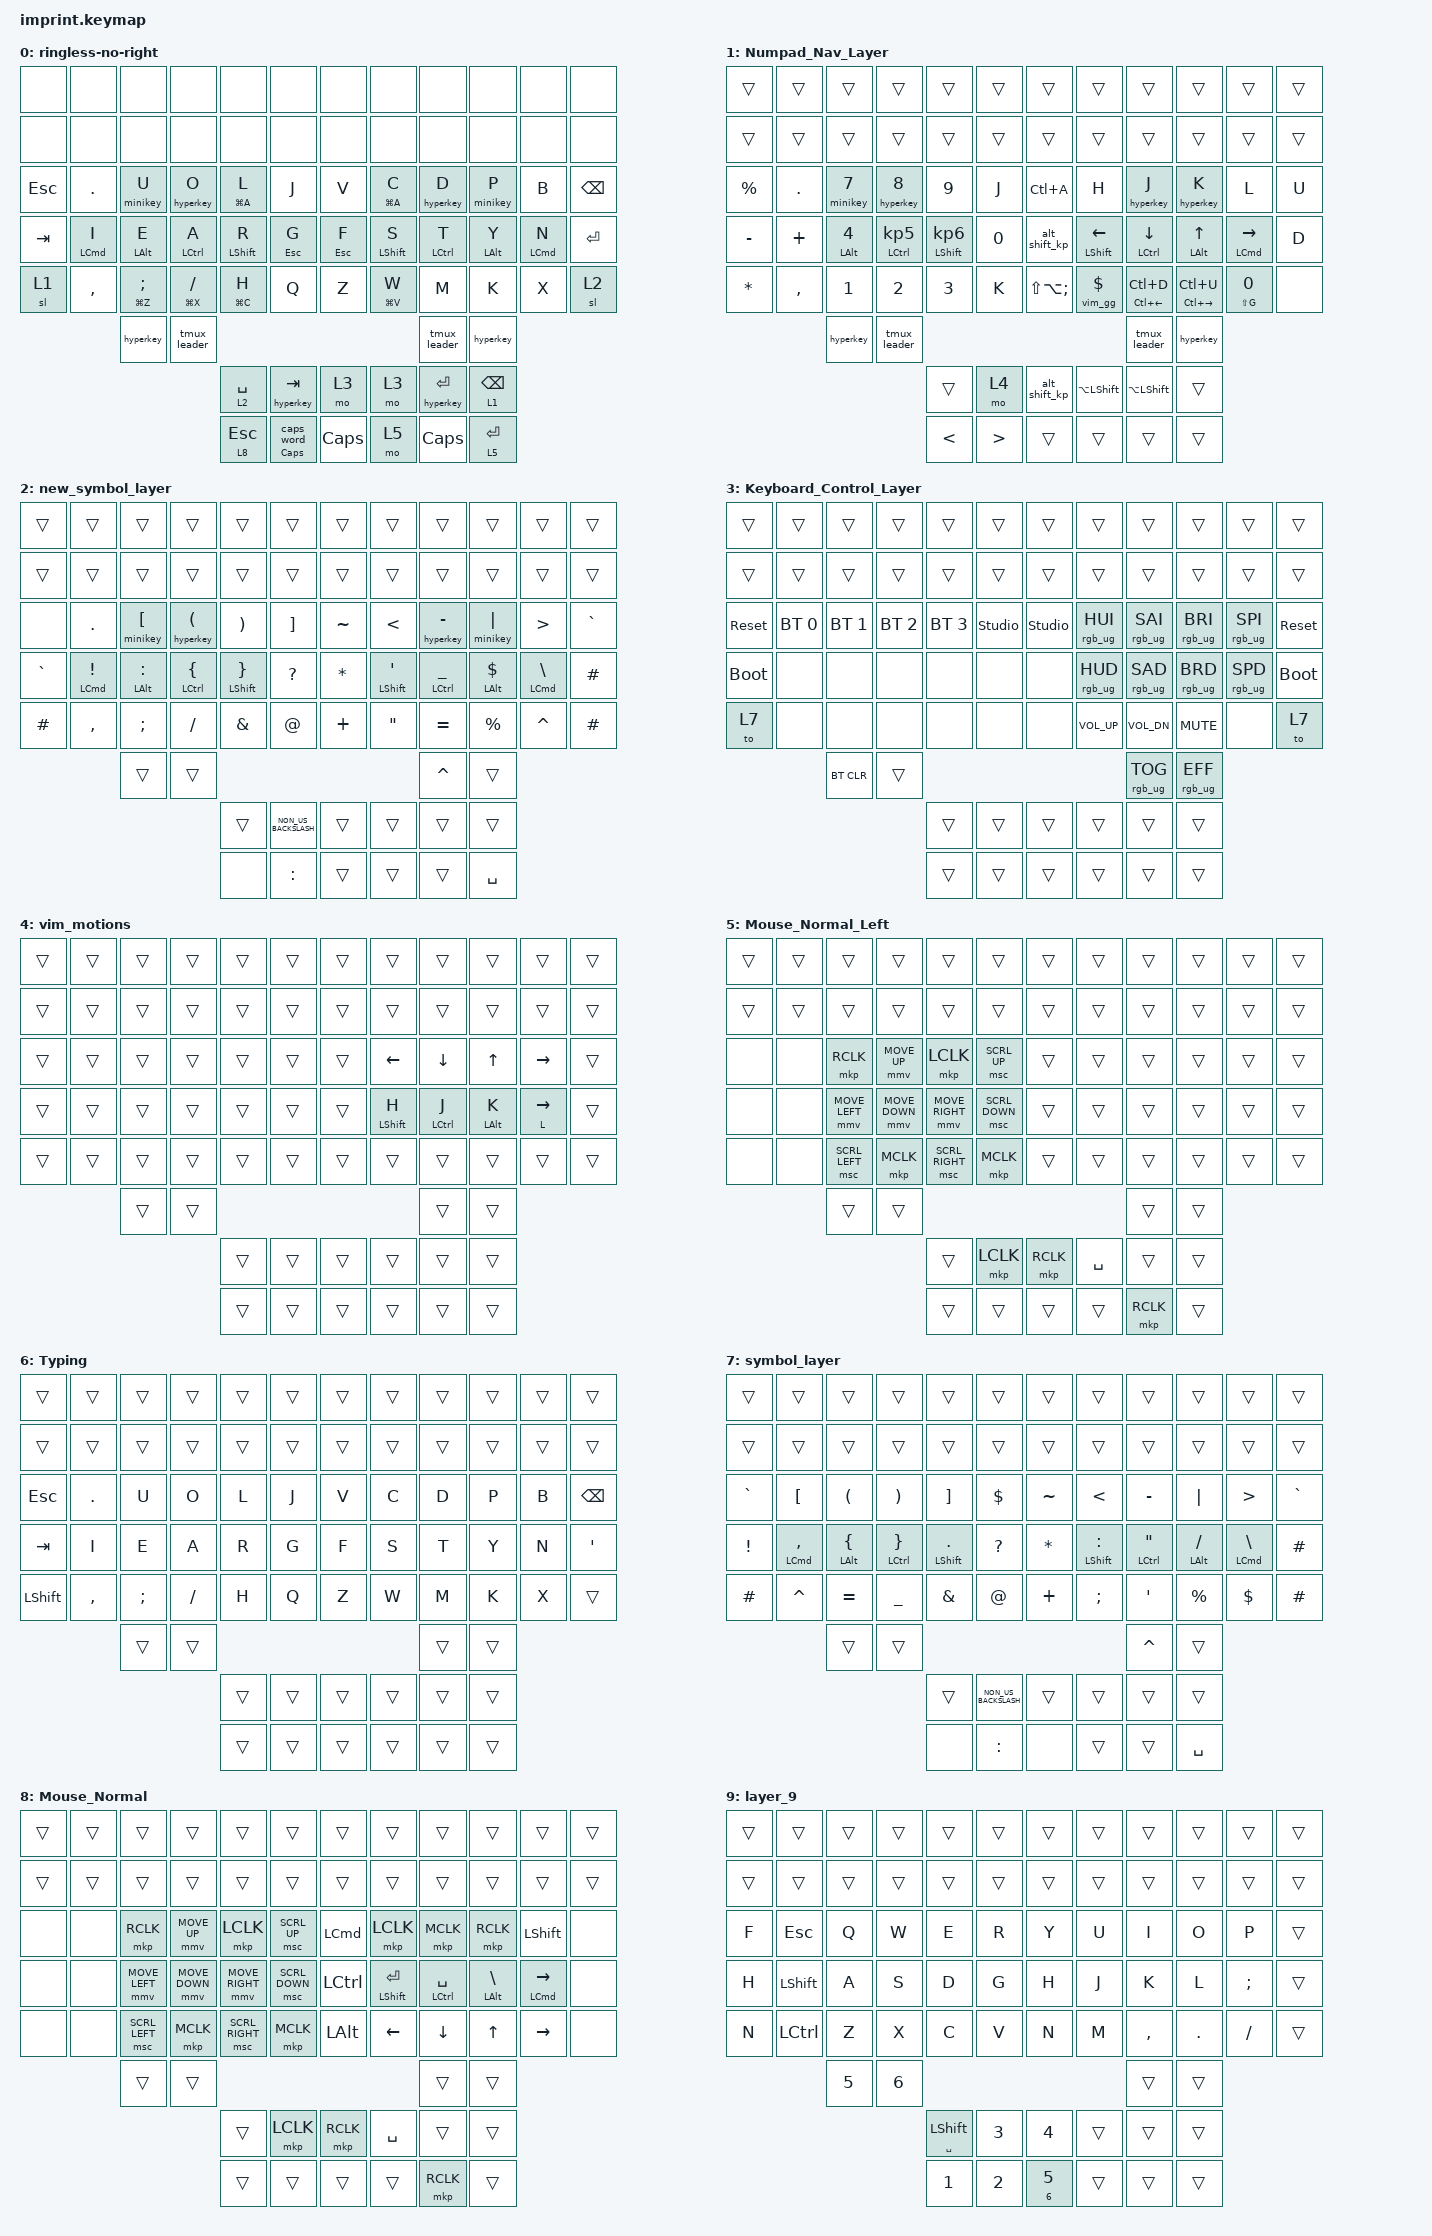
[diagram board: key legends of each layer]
#include <input/processors.dtsi>
#include <dt-bindings/zmk/input_transform.h>

#define ZMK_POINTING_DEFAULT_MOVE_VAL 1000  // default: 600
#define ZMK_POINTING_DEFAULT_SCRL_VAL 20    // default: 10

#include <behaviors.dtsi>
#include <dt-bindings/zmk/bt.h>
#include <dt-bindings/zmk/keys.h>
#include <dt-bindings/zmk/pointing.h>
#include <dt-bindings/zmk/rgb.h>

/ {
    chosen { zmk,matrix-transform = &imprint_function_row; };

    combos {
        compatible = "zmk,combos";

        to-alt {
            bindings = <&to 0>;
            key-positions = <61 62>;
            layers = <9 1 2 3 4 5 6 7 8>;
        };

        toKeyboardControl {
            bindings = <&to 3>;
            key-positions = <35 24>;
        };

        to_typing {
            bindings = <&to 6>;
            key-positions = <60 63>;
        };

        to_qwerty {
            bindings = <&to 9>;
            key-positions = <61 62>;
            layers = <0>;
        };
    };

    behaviors {
        Tap_Preferred_180ms: Tap_Preferred_180ms {
            compatible = "zmk,behavior-hold-tap";
            label = "TAP_PREFERRED_180MS";
            bindings = <&kp>, <&kp>;

            #binding-cells = <2>;
            tapping-term-ms = <230>;
            flavor = "tap-preferred";
            require-prior-idle-ms = <100>;
            hold-trigger-key-positions = <49 50 51 52 53 36 37 38 39 40 41 48 49 50 51 52 53 24 25 26 27 28 29 60 61 64 65 66 67 68 69 70 71 72 73 74 75>;
        };

        tap_long_press: tap_long_press {
            compatible = "zmk,behavior-hold-tap";
            label = "TAP_LONG_PRESS";
            bindings = <&kp>, <&kp>;

            #binding-cells = <2>;
            tapping-term-ms = <210>;
            require-prior-idle-ms = <125>;
            flavor = "tap-preferred";
            hold-trigger-key-positions = <24 25 26 27 28 29 36 37 38 39 40 41 48 49 50 51 52 53 60 61 64 65 66 67 68 69 70 71 72 73 74 75>;
        };

        tap_preferred_short: tap_preferred_short {
            compatible = "zmk,behavior-hold-tap";
            label = "TAP_PREFERRED_SHORT";
            bindings = <&kp>, <&kp>;

            #binding-cells = <2>;
            tapping-term-ms = <160>;
            flavor = "tap-preferred";
            require-prior-idle-ms = <40>;
            hold-trigger-key-positions = <24 25 26 27 28 29 36 37 38 39 40 41 48 49 50 51 52 53 60 61 64 65 66 67 68 69 70 71 72 73 74 75>;
        };

        lt_tap_preferred: lt_tap_preferred {
            compatible = "zmk,behavior-hold-tap";
            label = "LT_TAP_PREFERRED";
            bindings = <&mo>, <&kp>;

            #binding-cells = <2>;
            tapping-term-ms = <140>;
            flavor = "tap-preferred";
            require-prior-idle-ms = <80>;
        };

        Tap_Preferred_180ms_Left: Tap_Preferred_180ms_Left {
            compatible = "zmk,behavior-hold-tap";
            label = "TAP_PREFERRED_180MS_LEFT";
            bindings = <&kp>, <&kp>;

            #binding-cells = <2>;
            tapping-term-ms = <230>;
            require-prior-idle-ms = <100>;
            flavor = "tap-preferred";
            hold-trigger-key-positions = <30 31 32 33 34 35 42 43 44 45 46 47 54 55 56 57 58 59 62 63 64 65 66 67 68 69 70 71 72 73 74 75>;
        };

        tap_preferred_short_left: tap_preferred_short_left {
            compatible = "zmk,behavior-hold-tap";
            label = "TAP_PREFERRED_SHORT_LEFT";
            bindings = <&kp>, <&kp>;

            #binding-cells = <2>;
            tapping-term-ms = <160>;
            flavor = "tap-preferred";
            require-prior-idle-ms = <40>;
            hold-trigger-key-positions = <30 31 32 33 34 35 42 43 44 45 46 47 54 55 56 57 58 59 62 63 64 65 66 67 68 69 70 71 72 73 74 75>;
        };

        tap_long_press_left: tap_long_press_left {
            compatible = "zmk,behavior-hold-tap";
            label = "TAP_LONG_PRESS_LEFT";
            bindings = <&kp>, <&kp>;

            #binding-cells = <2>;
            tapping-term-ms = <210>;
            require-prior-idle-ms = <100>;
            flavor = "tap-preferred";
            hold-trigger-key-positions = <30 31 32 33 34 35 42 43 44 45 46 47 54 55 56 57 58 59 62 63 64 65 66 67 68 69 70 71 72 73 74 75>;
        };

        long_press_macro: long_press_macro {
            compatible = "zmk,behavior-hold-tap";
            label = "LONG_PRESS_MACRO";
            bindings = <&kp>, <&kp>;

            #binding-cells = <2>;
            tapping-term-ms = <250>;
            flavor = "tap-preferred";
            require-prior-idle-ms = <80>;
        };

        aero_leader_layer_tap: aero_leader_layer_tap {
            compatible = "zmk,behavior-hold-tap";
            label = "AERO_LEADER_LAYER_TAP";
            bindings = <&lt>, <&hyperkey>;

            #binding-cells = <2>;
            tapping-term-ms = <100>;
            flavor = "tap-preferred";
        };

        macro_preferred_short: macro_preferred_short {
            compatible = "zmk,behavior-hold-tap";
            label = "MACRO_PREFERRED_SHORT";
            bindings = <&vim_gg>, <&kp>;

            #binding-cells = <2>;
            tapping-term-ms = <160>;
            flavor = "tap-preferred";
            require-prior-idle-ms = <50>;
            hold-trigger-key-positions = <24 25 26 27 28 29 36 37 38 39 40 41 48 49 50 51 52 53 60 61 64 65 66 67 68 69 70 71 72 73 74 75>;
        };

        caps_word_lock: caps_word_lock {
            compatible = "zmk,behavior-hold-tap";
            label = "CAPS_WORD_LOCK";
            bindings = <&kp>, <&caps_word>;

            #binding-cells = <2>;
            tapping-term-ms = <180>;
            flavor = "tap-preferred";
        };

        mt_hyperkey: mt_hyperkey {
            compatible = "zmk,behavior-hold-tap";
            label = "MT_HYPERKEY";
            bindings = <&hyperkey>, <&kp>;

            #binding-cells = <2>;
            tapping-term-ms = <180>;
            flavor = "tap-preferred";
        };

        mt_minikey: mt_minikey {
            compatible = "zmk,behavior-hold-tap";
            label = "MT_MINIKEY";
            bindings = <&minikey>, <&kp>;

            #binding-cells = <2>;
            tapping-term-ms = <180>;
            flavor = "tap-preferred";
        };
    };

    macros {
        hyperkey: aero_leader {
            compatible = "zmk,behavior-macro";
            #binding-cells = <0>;
            bindings =
                <&macro_press>,
                <&kp LEFT_CONTROL &kp LEFT_ALT &kp LEFT_SHIFT &kp LEFT_COMMAND>,
                <&macro_pause_for_release>,
                <&macro_release>,
                <&kp LEFT_CONTROL &kp LEFT_ALT &kp LEFT_SHIFT &kp LEFT_COMMAND>;

            label = "AERO_LEADER";
        };

        vim_gg: vim_gg {
            compatible = "zmk,behavior-macro";
            #binding-cells = <0>;
            bindings = <&kp G &kp G>;
            label = "VIM_GG";
        };

        tmux_leader: tmux_leader {
            compatible = "zmk,behavior-macro";
            #binding-cells = <0>;
            bindings = <&kp LC(A)>;
            label = "TMUX_LEADER";
        };

        alt_shift_kp: alt_shift {
            compatible = "zmk,behavior-macro";
            #binding-cells = <0>;
            bindings = <&kp LEFT_ALT &kp LEFT_SHIFT>;
            label = "ALT_SHIFT";
        };

        minikey: minikey {
            compatible = "zmk,behavior-macro";
            #binding-cells = <0>;
            bindings =
                <&macro_press>,
                <&kp LEFT_ALT &kp LEFT_SHIFT &kp LEFT_COMMAND>,
                <&macro_pause_for_release>,
                <&macro_release>,
                <&kp LEFT_ALT &kp LEFT_SHIFT &kp LEFT_COMMAND>;

            label = "MINIKEY";
        };
    };

    keymap {
        compatible = "zmk,keymap";

        ringless-no-right {
            bindings = <
&none       &none                        &none                                 &none                                     &none                                   &none                                          &none                               &none                              &none                                &none                            &none                           &none
&none       &none                        &none                                 &none                                     &none                                   &none                                          &none                               &none                              &none                                &none                            &none                           &none
&kp ESCAPE  &kp PERIOD                   &mt_minikey 0 U                       &mt_hyperkey 0 O                          &long_press_macro LG(A) L               &kp J                                          &kp V                               &long_press_macro LG(A) C          &mt_hyperkey 0 D                     &mt_minikey 0 P                  &kp B                           &kp BACKSPACE
&kp TAB     &tap_long_press_left LCMD I  &Tap_Preferred_180ms_Left LEFT_ALT E  &Tap_Preferred_180ms_Left LEFT_CONTROL A  &tap_preferred_short_left LEFT_SHIFT R  &Tap_Preferred_180ms ESCAPE G                  &Tap_Preferred_180ms_Left ESCAPE F  &tap_preferred_short LEFT_SHIFT S  &Tap_Preferred_180ms LEFT_CONTROL T  &Tap_Preferred_180ms LEFT_ALT Y  &tap_long_press LEFT_COMMAND N  &kp ENTER
&sl 1       &kp COMMA                    &Tap_Preferred_180ms_Left LG(Z) SEMI  &Tap_Preferred_180ms_Left LG(X) SLASH     &Tap_Preferred_180ms_Left LG(C) H       &kp Q                                          &kp Z                               &Tap_Preferred_180ms LG(V) W       &kp M                                &kp K                            &kp X                           &sl 2
                                         &hyperkey                             &tmux_leader                                                                                                                                                                                            &tmux_leader                         &hyperkey
                                                                                                                         &lt_tap_preferred 2 SPACE               &mt_hyperkey 0 TAB             &mo 3           &mo 3                               &mt_hyperkey 0 ENTER               &lt_tap_preferred 1 BACKSPACE
                                                                                                                         &lt_tap_preferred 8 ESCAPE              &caps_word_lock CAPSLOCK 0     &kp CAPSLOCK    &mo 5                               &kp CAPSLOCK                       &lt_tap_preferred 5 ENTER
            >;
        };

        Numpad_Nav_Layer {
            bindings = <
&trans        &trans      &trans                                       &trans                                              &trans                                            &trans                             &trans                 &trans                                &trans                                        &trans                                  &trans                         &trans
&trans        &trans      &trans                                       &trans                                              &trans                                            &trans                             &trans                 &trans                                &trans                                        &trans                                  &trans                         &trans
&kp PERCENT   &kp PERIOD  &mt_minikey 0 N7                             &mt_hyperkey 0 N8                                   &kp N9                                            &kp J                              &kp LC(A)              &kp H                                 &mt_hyperkey 0 J                              &mt_hyperkey 0 K                        &kp L                          &kp U
&kp MINUS     &kp PLUS    &Tap_Preferred_180ms_Left LEFT_ALT NUMBER_4  &Tap_Preferred_180ms_Left LEFT_CONTROL KP_NUMBER_5  &tap_preferred_short_left LEFT_SHIFT KP_NUMBER_6  &kp N0                             &alt_shift_kp          &tap_preferred_short LEFT_SHIFT LEFT  &Tap_Preferred_180ms LEFT_CONTROL DOWN_ARROW  &Tap_Preferred_180ms LEFT_ALT UP_ARROW  &tap_long_press LCMD RIGHT     &kp D
&kp ASTERISK  &kp COMMA   &kp N1                                       &kp N2                                              &kp N3                                            &kp K                              &kp LS(LA(SEMICOLON))  &macro_preferred_short 0 DOLLAR       &tap_preferred_short LC(LEFT) LC(D)           &tap_preferred_short LC(RIGHT) LC(U)    &tap_preferred_short LS(G) N0  &none
                          &hyperkey                                    &tmux_leader                                                                                                                                                                                          &tmux_leader                                  &hyperkey
                                                                                                                           &trans                                            &mo 4             &alt_shift_kp    &kp LA(LEFT_SHIFT)     &kp LA(LEFT_SHIFT)                    &trans
                                                                                                                           &kp LESS_THAN                                     &kp GREATER_THAN  &trans           &trans                 &trans                                &trans
            >;
        };

        new_symbol_layer {
            bindings = <
&trans     &trans                                 &trans                                    &trans                                             &trans                                            &trans                          &trans        &trans                               &trans                                        &trans                                &trans                          &trans
&trans     &trans                                 &trans                                    &trans                                             &trans                                            &trans                          &trans        &trans                               &trans                                        &trans                                &trans                          &trans
&none      &kp PERIOD                             &mt_minikey 0 LEFT_BRACKET                &mt_hyperkey 0 LEFT_PARENTHESIS                    &kp RIGHT_PARENTHESIS                             &kp RIGHT_BRACKET               &kp TILDE     &kp LESS_THAN                        &mt_hyperkey 0 MINUS                          &mt_minikey 0 PIPE                    &kp GREATER_THAN                &kp GRAVE
&kp GRAVE  &tap_long_press_left LCMD EXCLAMATION  &Tap_Preferred_180ms_Left LEFT_ALT COLON  &Tap_Preferred_180ms_Left LEFT_CONTROL LEFT_BRACE  &Tap_Preferred_180ms_Left LEFT_SHIFT RIGHT_BRACE  &kp QUESTION                    &kp ASTERISK  &Tap_Preferred_180ms LEFT_SHIFT SQT  &Tap_Preferred_180ms LEFT_CONTROL UNDERSCORE  &Tap_Preferred_180ms LEFT_ALT DOLLAR  &tap_long_press LCMD BACKSLASH  &kp HASH
&kp HASH   &kp COMMA                              &kp SEMICOLON                             &kp SLASH                                          &kp AMPERSAND                                     &kp AT                          &kp PLUS      &kp DOUBLE_QUOTES                    &kp EQUAL                                     &kp PERCENT                           &kp CARET                       &kp HASH
                                                  &trans                                    &trans                                                                                                                                                                                  &kp CARET                                     &trans
                                                                                                                                               &trans                                            &kp NON_US_BACKSLASH  &trans    &trans        &trans                               &trans
                                                                                                                                               &none                                             &kp COLON             &trans    &trans        &trans                               &kp SPACE
            >;
        };

        Keyboard_Control_Layer {
            bindings = <
&trans       &trans        &trans        &trans        &trans        &trans                    &trans          &trans           &trans           &trans           &trans           &trans
&trans       &trans        &trans        &trans        &trans        &trans                    &trans          &trans           &trans           &trans           &trans           &trans
&sys_reset   &bt BT_SEL 0  &bt BT_SEL 1  &bt BT_SEL 2  &bt BT_SEL 3  &studio_unlock            &studio_unlock  &rgb_ug RGB_HUI  &rgb_ug RGB_SAI  &rgb_ug RGB_BRI  &rgb_ug RGB_SPI  &sys_reset
&bootloader  &none         &none         &none         &none         &none                     &none           &rgb_ug RGB_HUD  &rgb_ug RGB_SAD  &rgb_ug RGB_BRD  &rgb_ug RGB_SPD  &bootloader
&to 7        &none         &none         &none         &none         &none                     &none           &kp C_VOLUME_UP  &kp C_VOL_DN     &kp K_MUTE       &none            &to 7
                           &bt BT_CLR    &trans                                                                                 &rgb_ug RGB_TOG  &rgb_ug RGB_EFF
                                                       &trans        &trans          &trans    &trans          &trans           &trans
                                                       &trans        &trans          &trans    &trans          &trans           &trans
            >;
        };

        vim_motions {
            bindings = <
&trans  &trans  &trans  &trans  &trans  &trans            &trans  &trans                             &trans                               &trans                           &trans                              &trans
&trans  &trans  &trans  &trans  &trans  &trans            &trans  &trans                             &trans                               &trans                           &trans                              &trans
&trans  &trans  &trans  &trans  &trans  &trans            &trans  &kp LEFT_ARROW                     &kp DOWN                             &kp UP                           &kp RIGHT                           &trans
&trans  &trans  &trans  &trans  &trans  &trans            &trans  &tap_preferred_short LEFT_SHIFT H  &tap_preferred_short LEFT_CONTROL J  &tap_preferred_short LEFT_ALT K  &tap_preferred_short L RIGHT_ARROW  &trans
&trans  &trans  &trans  &trans  &trans  &trans            &trans  &trans                             &trans                               &trans                           &trans                              &trans
                &trans  &trans                                                                       &trans                               &trans
                                &trans  &trans  &trans    &trans  &trans                             &trans
                                &trans  &trans  &trans    &trans  &trans                             &trans
            >;
        };

        Mouse_Normal_Left {
            bindings = <
&trans  &trans  &trans          &trans          &trans           &trans                       &trans     &trans     &trans  &trans  &trans  &trans
&trans  &trans  &trans          &trans          &trans           &trans                       &trans     &trans     &trans  &trans  &trans  &trans
&none   &none   &mkp RCLK       &mmv MOVE_UP    &mkp LCLK        &msc SCRL_UP                 &trans     &trans     &trans  &trans  &trans  &trans
&none   &none   &mmv MOVE_LEFT  &mmv MOVE_DOWN  &mmv MOVE_RIGHT  &msc SCRL_DOWN               &trans     &trans     &trans  &trans  &trans  &trans
&none   &none   &msc SCRL_LEFT  &mkp MCLK       &msc SCRL_RIGHT  &mkp MCLK                    &trans     &trans     &trans  &trans  &trans  &trans
                &trans          &trans                                                                              &trans  &trans
                                                &trans           &mkp LCLK       &mkp RCLK    &kp SPACE  &trans     &trans
                                                &trans           &trans          &trans       &trans     &mkp RCLK  &trans
            >;
        };

        Typing {
            bindings = <
&trans     &trans      &trans    &trans    &trans  &trans            &trans  &trans  &trans  &trans  &trans  &trans
&trans     &trans      &trans    &trans    &trans  &trans            &trans  &trans  &trans  &trans  &trans  &trans
&kp ESC    &kp PERIOD  &kp U     &kp O     &kp L   &kp J             &kp V   &kp C   &kp D   &kp P   &kp B   &kp BSPC
&kp TAB    &kp I       &kp E     &kp A     &kp R   &kp G             &kp F   &kp S   &kp T   &kp Y   &kp N   &kp APOS
&kp LSHFT  &kp COMMA   &kp SEMI  &kp FSLH  &kp H   &kp Q             &kp Z   &kp W   &kp M   &kp K   &kp X   &trans
                       &trans    &trans                                              &trans  &trans
                                           &trans  &trans  &trans    &trans  &trans  &trans
                                           &trans  &trans  &trans    &trans  &trans  &trans
            >;
        };

        symbol_layer {
            bindings = <
&trans           &trans                           &trans                                         &trans                                              &trans                                       &trans                          &trans        &trans                                 &trans                                           &trans                               &trans                          &trans
&trans           &trans                           &trans                                         &trans                                              &trans                                       &trans                          &trans        &trans                                 &trans                                           &trans                               &trans                          &trans
&kp GRAVE        &kp LEFT_BRACKET                 &kp LEFT_PARENTHESIS                           &kp RIGHT_PARENTHESIS                               &kp RIGHT_BRACKET                            &kp DOLLAR                      &kp TILDE     &kp LESS_THAN                          &kp MINUS                                        &kp PIPE                             &kp GREATER_THAN                &kp GRAVE
&kp EXCLAMATION  &tap_long_press_left LCMD COMMA  &Tap_Preferred_180ms_Left LEFT_ALT LEFT_BRACE  &Tap_Preferred_180ms_Left LEFT_CONTROL RIGHT_BRACE  &Tap_Preferred_180ms_Left LEFT_SHIFT PERIOD  &kp QUESTION                    &kp ASTERISK  &Tap_Preferred_180ms LEFT_SHIFT COLON  &Tap_Preferred_180ms LEFT_CONTROL DOUBLE_QUOTES  &Tap_Preferred_180ms LEFT_ALT SLASH  &tap_long_press LCMD BACKSLASH  &kp HASH
&kp HASH         &kp CARET                        &kp EQUAL                                      &kp UNDER                                           &kp AMPERSAND                                &kp AT                          &kp PLUS      &kp SEMICOLON                          &kp SINGLE_QUOTE                                 &kp PERCENT                          &kp DOLLAR                      &kp HASH
                                                  &trans                                         &trans                                                                                                                                                                                &kp CARET                                        &trans
                                                                                                                                                     &trans                                       &kp NON_US_BACKSLASH  &trans    &trans        &trans                                 &trans
                                                                                                                                                     &none                                        &kp COLON             &none     &trans        &trans                                 &kp SPACE
            >;
        };

        Mouse_Normal {
            bindings = <
&trans  &trans  &trans          &trans          &trans           &trans                       &trans            &trans                                 &trans                                   &trans                                   &trans                              &trans
&trans  &trans  &trans          &trans          &trans           &trans                       &trans            &trans                                 &trans                                   &trans                                   &trans                              &trans
&none   &none   &mkp RCLK       &mmv MOVE_UP    &mkp LCLK        &msc SCRL_UP                 &kp LCMD          &mkp LCLK                              &mkp MCLK                                &mkp RCLK                                &kp LEFT_SHIFT                      &none
&none   &none   &mmv MOVE_LEFT  &mmv MOVE_DOWN  &mmv MOVE_RIGHT  &msc SCRL_DOWN               &kp LEFT_CONTROL  &tap_preferred_short LEFT_SHIFT ENTER  &Tap_Preferred_180ms LEFT_CONTROL SPACE  &Tap_Preferred_180ms LEFT_ALT BACKSLASH  &tap_long_press LEFT_COMMAND RIGHT  &none
&none   &none   &msc SCRL_LEFT  &mkp MCLK       &msc SCRL_RIGHT  &mkp MCLK                    &kp LEFT_ALT      &kp LEFT_ARROW                         &kp DOWN                                 &kp UP_ARROW                             &kp RIGHT                           &none
                &trans          &trans                                                                                                                 &trans                                   &trans
                                                &trans           &mkp LCLK       &mkp RCLK    &kp SPACE         &trans                                 &trans
                                                &trans           &trans          &trans       &trans            &mkp RCLK                              &trans
            >;
        };

        layer_9 {
            bindings = <
&trans  &trans     &trans  &trans        &trans                                 &trans                                            &trans  &trans  &trans     &trans   &trans    &trans
&trans  &trans     &trans  &trans        &trans                                 &trans                                            &trans  &trans  &trans     &trans   &trans    &trans
&kp F   &kp ESC    &kp Q   &kp W         &kp E                                  &kp R                                             &kp Y   &kp U   &kp I      &kp O    &kp P     &trans
&kp H   &kp LSHFT  &kp A   &kp S         &kp D                                  &kp G                                             &kp H   &kp J   &kp K      &kp L    &kp SEMI  &trans
&kp N   &kp LCTRL  &kp Z   &kp X         &kp C                                  &kp V                                             &kp N   &kp M   &kp COMMA  &kp DOT  &kp FSLH  &trans
                   &kp N5  &kp NUMBER_6                                                                                                           &trans     &trans
                                         &tap_preferred_short SPACE LEFT_SHIFT  &kp NUMBER_3  &kp N4                              &trans  &trans  &trans
                                         &kp NUMBER_1                           &kp N2        &tap_preferred_short NUMBER_6 N5    &trans  &trans  &trans
            >;
        };
    };
};

// right hand trackball configuration (scroll)

&trackball_peripheral_listener {
    input-processors =
        // multiply sensitivity by 1, divide by 12 (make it slower for scrolling),,,,,,,,,,,,,,,,,,,,,,,,,,,,,,,,,,,,,,,,,,,,,,,,,,,,,,,,,,,,,,,,,,,,,,,,,,,,,,,,,,,,,,,,,,,,,,,,,,,,,,,,,,,,,,,,,,,,,,,,,,,,,,,,,,,,,,,,,,,,,,,,,,,,,,,,,,,,,,,,,,,,,,,,,,,,,,,,,,,,,,,,,,,,,,,,,,,,,,,,,,,,,,,,,,,,,,,,,,,,,,,,,,,,,,,
        <&zip_xy_scaler 1 16>,
        // make this trackball output scrolling events by default instead of cursor movement,,,,,,,,,,,,,,,,,,,,,,,,,,,,,,,,,,,,,,,,,,,,,,,,,,,,,,,,,,,,,,,,,,,,,,,,,,,,,,,,,,,,,,,,,,,,,,,,,,,,,,,,,,,,,,,,,,,,,,,,,,,,,,,,,,,,,,,,,,,,,,,,,,,,,,,,,,,,,,,,,,,,,,,,,,,,,,,,,,,,,,,,,,,,,,,,,,,,,,,,,,,,,,,,,,,,,,,,,,,,,,,,,,,,,,,
        <&zip_xy_to_scroll_mapper>,
        // invert vertical scrolling so that the view moves in the same direction as the top of the trackball.,,,,,,,,,,,,,,,,,,,,,,,,,,,,,,,,,,,,,,,,,,,,,,,,,,,,,,,,,,,,,,,,,,,,,,,,,,,,,,,,,,,,,,,,,,,,,,,,,,,,,,,,,,,,,,,,,,,,,,,,,,,,,,,,,,,,,,,,,,,,,,,,,,,,,,,,,,,,,,,,,,,,,,,,,,,,,,,,,,,,,,,,,,,,,,,,,,,,,,,,,,,,,,,,,,,,,,,,,,,,,,,,,,,,,,,
        <&zip_scroll_transform INPUT_TRANSFORM_Y_INVERT>;
};

//left hand trackball configuration (mouse)

&trackball_central_listener {
    input-processors =
        // activate mouse layer within 500 ms of the trackball moving ,,,,,,,,,,,,,,,,,,,,,,,,,,,,,,,,,,,,,,,,,,,,,,,,,,,,,,,,,,,,,,,,,,,,,,,,,,,,,,,,,,,,,,,,,,,,,,,,,,,,,,,,,,,,,,,,,,,,,,,,,,,,,,,,,,,,,,,,,,,,,,,,,,,,,,,,,,,,,,,,,,,,,,,,,,,,,,,,,,,,,,,,,,,,,,,,,,,,,,,,,,,,,,,,,,,,,,,,,,,,,,,,,,,,,,,,
        <&zip_temp_layer 5 500>;
};
